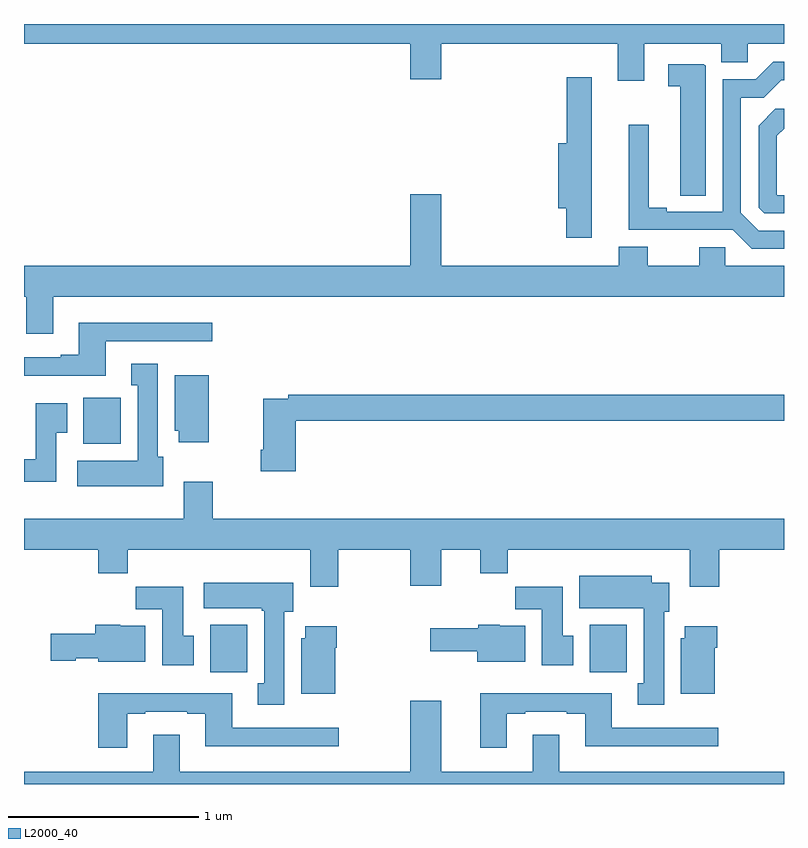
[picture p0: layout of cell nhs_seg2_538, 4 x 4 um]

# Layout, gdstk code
import gdstk
lib = gdstk.Library(unit=1e-6, precision=1e-09)
def R(c, l, rs):  # rectangles x0, y0, x1, y1
    for r in rs: c.add(gdstk.rectangle(r[:2], r[2:], *l))
def P(c, l, *ps):  # polygons
    for p in ps: c.add(gdstk.Polygon(p, *l))
L2000_40 = (2000, 40)

nhs_seg2_538 = lib.new_cell('nhs_seg2_538')
R(nhs_seg2_538, L2000_40, [(139.979,584.388,140.175,584.638), (141.977,584.388,142.173,584.638), (139.313,585.59,139.51,585.832)])
P(nhs_seg2_538, L2000_40, [(142.264,587.696),(142.67,587.696),(142.67,587.598),(142.809,587.598),(142.809,587.696),(143,587.696),(143,587.8),(139,587.8),(139,587.696),(141.032,587.696),(141.032,587.508),(141.196,587.508),(141.196,587.696),(142.124,587.696),(142.124,587.502),(142.264,587.502)],
  [(143,586.713),(142.866,586.713),(142.773,586.806),(142.773,587.413),(142.894,587.413),(142.985,587.504),(143,587.504),(143,587.601),(142.944,587.601),(142.851,587.508),(142.677,587.508),(142.677,586.812),(142.384,586.812),(142.384,586.832),(142.288,586.832),(142.288,587.269),(142.184,587.269),(142.184,586.716),(142.73,586.716),(142.829,586.617),(143,586.617)],
  [(142.588,587.579),(142.578,587.589),(142.392,587.589),(142.392,587.473),(142.454,587.473),(142.454,586.897),(142.588,586.897)],
  [(141.988,587.521),(141.857,587.521),(141.857,587.173),(141.812,587.173),(141.812,586.829),(141.854,586.829),(141.854,586.674),(141.988,586.674)],
  [(143,586.899),(142.962,586.899),(142.962,587.211),(143,587.249),(143,587.354),(142.955,587.354),(142.866,587.265),(142.866,586.833),(142.896,586.803),(143,586.803)],
  [(139.153,586.364),(143,586.364),(143,586.528),(142.692,586.528),(142.692,586.626),(142.553,586.626),(142.553,586.528),(142.282,586.528),(142.282,586.627),(142.13,586.627),(142.13,586.528),(141.196,586.528),(141.196,586.903),(141.032,586.903),(141.032,586.528),(139,586.528),(139,586.364),(139.013,586.364),(139.013,586.17),(139.153,586.17)],
  [(139.429,586.131),(139.99,586.131),(139.99,586.228),(139.289,586.228),(139.289,586.06),(139.193,586.06),(139.193,586.047),(139,586.047),(139,585.95),(139.429,585.95)],
  [(139.732,585.522),(139.705,585.522),(139.705,586.012),(139.565,586.012),(139.565,585.899),(139.598,585.899),(139.598,585.502),(139.281,585.502),(139.281,585.368),(139.732,585.368)],
  [(139.972,585.952),(139.793,585.952),(139.793,585.66),(139.814,585.66),(139.814,585.6),(139.972,585.6)],
  [(140.429,585.712),(143,585.712),(143,585.848),(140.392,585.848),(140.392,585.828),(140.258,585.828),(140.258,585.559),(140.246,585.559),(140.246,585.447),(140.429,585.447)],
  [(139.171,585.649),(139.228,585.649),(139.228,585.805),(139.061,585.805),(139.061,585.508),(139,585.508),(139,585.39),(139.171,585.39)],
  [(140.655,585.032),(141.032,585.032),(141.032,584.844),(141.196,584.844),(141.196,585.032),(141.401,585.032),(141.401,584.908),(141.545,584.908),(141.545,585.032),(142.505,585.032),(142.505,584.838),(142.658,584.838),(142.658,585.032),(143,585.032),(143,585.196),(139.994,585.196),(139.994,585.391),(139.841,585.391),(139.841,585.196),(139,585.196),(139,585.032),(139.391,585.032),(139.391,584.908),(139.547,584.908),(139.547,585.032),(140.507,585.032),(140.507,584.838),(140.655,584.838)],
  [(142.369,584.706),(142.396,584.706),(142.396,584.86),(142.303,584.86),(142.303,584.896),(141.923,584.896),(141.923,584.726),(142.262,584.726),(142.262,584.329),(142.229,584.329),(142.229,584.217),(142.369,584.217)],
  [(140.371,584.706),(140.416,584.706),(140.416,584.86),(139.947,584.86),(139.947,584.726),(140.251,584.726),(140.251,584.713),(140.264,584.713),(140.264,584.329),(140.231,584.329),(140.231,584.217),(140.371,584.217)],
  [(139.894,584.58),(139.837,584.58),(139.837,584.839),(139.588,584.839),(139.588,584.72),(139.727,584.72),(139.727,584.424),(139.894,584.424)],
  [(141.892,584.58),(141.835,584.58),(141.835,584.838),(141.586,584.838),(141.586,584.72),(141.725,584.72),(141.725,584.424),(141.892,584.424)],
  [(139.639,584.632),(139.506,584.632),(139.506,584.638),(139.376,584.638),(139.376,584.592),(139.14,584.592),(139.14,584.45),(139.272,584.45),(139.272,584.462),(139.392,584.462),(139.392,584.444),(139.639,584.444)],
  [(141.637,584.632),(141.504,584.632),(141.504,584.638),(141.39,584.638),(141.39,584.62),(141.138,584.62),(141.138,584.498),(141.386,584.498),(141.386,584.444),(141.637,584.444)],
  [(140.638,584.516),(140.646,584.516),(140.646,584.629),(140.48,584.629),(140.48,584.568),(140.459,584.568),(140.459,584.276),(140.638,584.276)],
  [(142.636,584.516),(142.649,584.516),(142.649,584.629),(142.478,584.629),(142.478,584.568),(142.457,584.568),(142.457,584.276),(142.636,584.276)],
  [(139.543,584.169),(139.639,584.169),(139.639,584.181),(139.859,584.181),(139.859,584.169),(139.955,584.169),(139.955,584),(140.656,584),(140.656,584.097),(140.095,584.097),(140.095,584.278),(139.391,584.278),(139.391,583.992),(139.543,583.992)],
  [(141.541,584.169),(141.637,584.169),(141.637,584.181),(141.857,584.181),(141.857,584.169),(141.953,584.169),(141.953,584),(142.654,584),(142.654,584.097),(142.093,584.097),(142.093,584.278),(141.401,584.278),(141.401,583.992),(141.541,583.992)],
  [(143,583.864),(141.817,583.864),(141.817,584.059),(141.677,584.059),(141.677,583.864),(141.196,583.864),(141.196,584.239),(141.032,584.239),(141.032,583.864),(139.819,583.864),(139.819,584.059),(139.679,584.059),(139.679,583.864),(139,583.864),(139,583.8),(143,583.8)])

lib.write_gds('nhs_seg2_538.gds')
